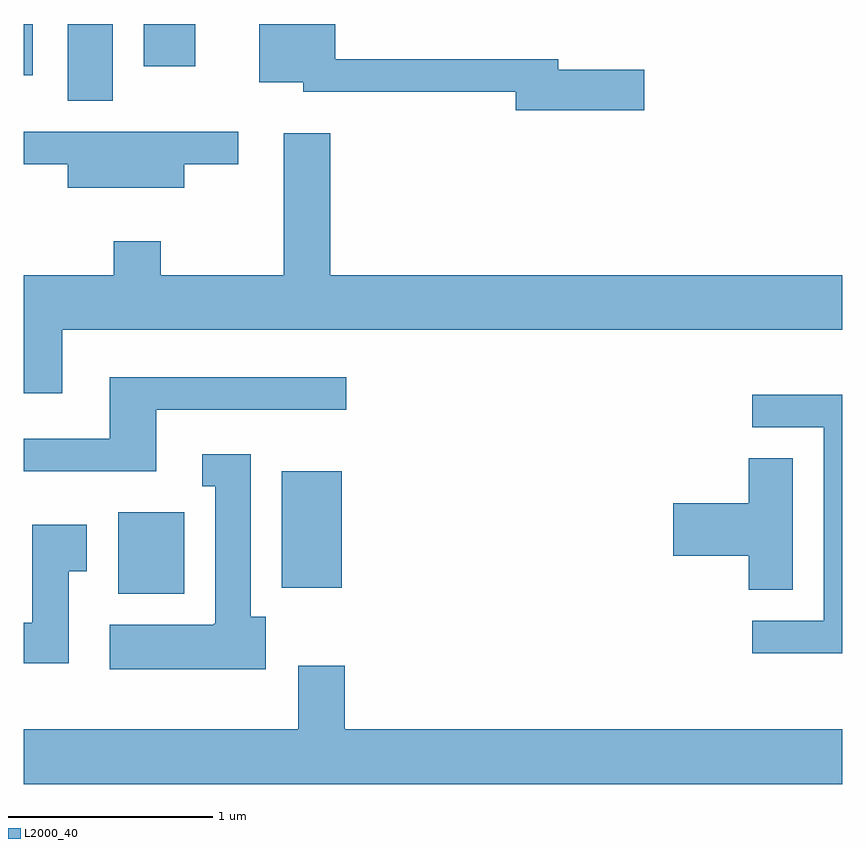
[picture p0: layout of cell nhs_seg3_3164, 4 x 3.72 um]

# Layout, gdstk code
import gdstk
lib = gdstk.Library(unit=1e-6, precision=1e-09)
def R(c, l, rs):  # rectangles x0, y0, x1, y1
    for r in rs: c.add(gdstk.rectangle(r[:2], r[2:], *l))
def P(c, l, *ps):  # polygons
    for p in ps: c.add(gdstk.Polygon(p, *l))
L2000_40 = (2000, 40)

nhs_seg3_3164 = lib.new_cell('nhs_seg3_3164')
R(nhs_seg3_3164, L2000_40, [(278.071,1189.106,278.394,1189.504), (278.871,1189.136,279.164,1189.704), (277.826,1191.516,278.044,1191.892), (277.611,1191.641,277.654,1191.892), (278.196,1191.686,278.449,1191.892)])
P(nhs_seg3_3164, L2000_40, [(280.644,1191.669),(280.224,1191.669),(280.224,1191.719),(279.134,1191.719),(279.134,1191.892),(278.761,1191.892),(278.761,1191.606),(278.976,1191.606),(278.976,1191.561),(280.016,1191.561),(280.016,1191.471),(280.644,1191.471)],
  [(278.394,1191.206),(278.658,1191.206),(278.658,1191.364),(277.611,1191.364),(277.611,1191.206),(277.826,1191.206),(277.826,1191.091),(278.394,1191.091)],
  [(277.799,1190.396),(281.611,1190.396),(281.611,1190.664),(279.109,1190.664),(279.109,1191.359),(278.881,1191.359),(278.881,1190.664),(278.279,1190.664),(278.279,1190.829),(278.051,1190.829),(278.051,1190.664),(277.611,1190.664),(277.611,1190.086),(277.799,1190.086)],
  [(278.259,1190.006),(279.188,1190.006),(279.188,1190.164),(278.031,1190.164),(278.031,1189.864),(277.611,1189.864),(277.611,1189.706),(278.259,1189.706)],
  [(281.611,1190.079),(281.173,1190.079),(281.173,1189.921),(281.521,1189.921),(281.521,1188.974),(281.173,1188.974),(281.173,1188.816),(281.611,1188.816)],
  [(278.794,1188.994),(278.719,1188.994),(278.719,1189.789),(278.483,1189.789),(278.483,1189.631),(278.546,1189.631),(278.546,1188.96),(278.54,1188.96),(278.54,1188.954),(278.031,1188.954),(278.031,1188.736),(278.794,1188.736)],
  [(281.369,1189.769),(281.156,1189.769),(281.156,1189.549),(280.786,1189.549),(280.786,1189.291),(281.156,1189.291),(281.156,1189.126),(281.369,1189.126)],
  [(277.829,1189.216),(277.919,1189.216),(277.919,1189.444),(277.651,1189.444),(277.651,1188.964),(277.611,1188.964),(277.611,1188.766),(277.829,1188.766)],
  [(281.611,1188.444),(279.179,1188.444),(279.179,1188.754),(278.951,1188.754),(278.951,1188.444),(277.611,1188.444),(277.611,1188.176),(281.611,1188.176)])

lib.write_gds('nhs_seg3_3164.gds')
